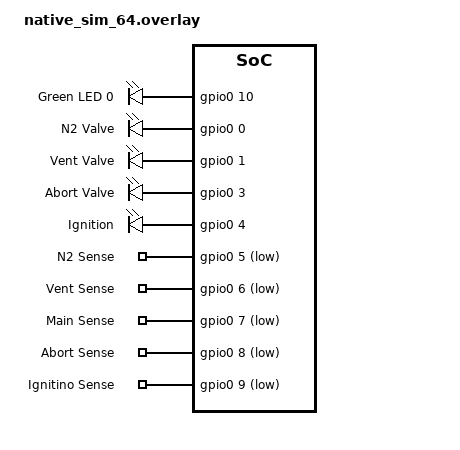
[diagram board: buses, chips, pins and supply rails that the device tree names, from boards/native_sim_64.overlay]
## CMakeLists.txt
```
#-------------------------------------------------------------------------------
# Zephyr Example Application
#
# Copyright (c) 2021 Nordic Semiconductor ASA
# SPDX-License-Identifier: Apache-2.0

cmake_minimum_required(VERSION 3.13.1)
find_package(Zephyr REQUIRED HINTS $ENV{ZEPHYR_BASE})

project(app LANGUAGES C)

target_sources(app PRIVATE src/main.c src/can_com.c src/gpio_emul_shell.c src/heartbeat.c)
# target_sources(app PRIVATE src/blinky.c src/can_com.c src/gpio_emul_shell.c)
```

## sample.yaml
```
# This file is provided so that the application can be compiled using Twister,
# the Zephyr testing tool. In this file, multiple combinations can be specified,
# so that you can easily test all of them locally or in CI.
sample:
  description: Fafnir - Propulsion engine control
  name: fafnir 
common:
  build_only: false
tests:
  app.default: {}
  app.debug:
    extra_overlay_confs:
      - debug.conf

      
```

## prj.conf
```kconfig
# Copyright (c) 2021 Nordic Semiconductor ASA
# SPDX-License-Identifier: Apache-2.0
#
# This file contains selected Kconfig options for the application.

CONFIG_SENSOR=y
CONFIG_GPIO=y
CONFIG_PWM=y
CONFIG_CAN=y
CONFIG_CAN_FD_MODE=y #TODO: not sure do we need this?
```

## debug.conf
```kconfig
# Copyright (c) 2021 Nordic Semiconductor ASA
# SPDX-License-Identifier: Apache-2.0
#
# This is a Kconfig fragment which can be used to enable debug-related options
# in the application. See the README for more details.

CONFIG_LOG=y
CONFIG_APP_LOG_LEVEL_DBG=y
# CONFIG_CAN_LOG_LEVEL_DBG=y
CONFIG_CAN_LOOPBACK=y
CONFIG_SHELL=y
CONFIG_SHELL_BACKENDS=y
CONFIG_SERIAL=y
CONFIG_UART_NATIVE_PTY_0_ON_STDINOUT=y
CONFIG_SHELL_PRINTF_BUFF_SIZE=100
CONFIG_CAN_SHELL=y
CONFIG_GPIO_SHELL=y
CONFIG_GPIO_EMUL=y
CONFIG_SHELL_TELNET_LOG_LEVEL_DBG=y
```

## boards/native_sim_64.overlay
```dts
/ {
	aliases {
		fdcan1 = &can_loopback0;

		n2valve = &solenoid0;
		ventvalve = &solenoid1;
		// mainvalve = &solenoid2;
		abortvalve = &solenoid2;
		extravalve = &ignition0;

		n2sense = &sense0;
		ventsense = &sense1;
		mainsense = &sense2;
		abortsense = &sense3;
		ignitionsense = &sense4;
		solenoids = &solenoids;
		gpio0 = &gpio0;
	};


    leds {
        compatible = "gpio-leds";
        
        led0: led_0 {
			gpios = <&gpio0 10 GPIO_ACTIVE_HIGH>;
			label = "Green LED 0";
		};
    };

	solenoids: solenoids {
        compatible = "gpio-leds";
        
        solenoid0: sol_0 {
			gpios = <&gpio0 0 GPIO_ACTIVE_HIGH>;
			label = "N2 Valve";
		};

		solenoid1: sol_1 {
			gpios = <&gpio0 1 GPIO_ACTIVE_HIGH>;
			label = "Vent Valve";
		};

		// solenoid2: sol_2 {
		// 	gpios = <&gpio0 2 GPIO_ACTIVE_HIGH>;
		// 	label = "Main Valve";
		// };

		solenoid2: sol_2 {
			gpios = <&gpio0 3 GPIO_ACTIVE_HIGH>;
			label = "Abort Valve";
		};

		ignition0: ign_0 {
			gpios = <&gpio0 4 GPIO_ACTIVE_HIGH>;
			label = "Ignition";
		};

};

	solenoidSense {
        compatible = "gpio-keys";
        
        sense0: sense_0 {
			gpios = <&gpio0 5 GPIO_ACTIVE_LOW>;
			label = "N2 Sense";
		};

		sense1: sense_1 {
			gpios = <&gpio0 6 GPIO_ACTIVE_LOW>;
			label = "Vent Sense";
		};

		sense2: sense_2 {
			gpios = <&gpio0 7 GPIO_ACTIVE_LOW>;
			label = "Main Sense";
		};
		
		sense3: sense_3 {
			gpios = <&gpio0 8 GPIO_ACTIVE_LOW>;
			label = "Abort Sense";
		};
		
		sense4: sense_4 {
			gpios = <&gpio0 9 GPIO_ACTIVE_LOW>;
			label = "Ignitino Sense";
		};
	};

};
```

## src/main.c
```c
/*
 * Copyright (c) 2016 Intel Corporation
 *
 * SPDX-License-Identifier: Apache-2.0
 */

#include "can_com.h"

#if defined(CONFIG_BOARD_NATIVE_SIM) 
#include "gpio_emul_shell.h"
#endif

#include "main.h"

#include <zephyr/logging/log.h>
#include <zephyr/kernel.h>
#include <zephyr/drivers/gpio.h>
#include <zephyr/drivers/pwm.h>



/* 1000 msec = 1 sec */
#define SLEEP_TIME_MS   4000


LOG_MODULE_REGISTER(main_func);

static const struct gpio_dt_spec led = GPIO_DT_SPEC_GET(DT_ALIAS(rxled), gpios);

// Disable servo pwm if using board Native Sim 
// #if !defined(CONFIG_BOARD_NATIVE_SIM) 
// static const struct pwm_dt_spec pwm_servo = PWM_DT_SPEC_GET(DT_NODELABEL(servo));
// #define SERVO_PERIOD PWM_MSEC(20)
// #endif

#if !defined(CONFIG_BOARD_NATIVE_SIM) 
static const struct pwm_dt_spec pwm_servo = PWM_DT_SPEC_GET(DT_ALIAS(servo));
#define SERVO_PERIOD PWM_MSEC(20)
#endif

static const struct gpio_dt_spec N2_valve = GPIO_DT_SPEC_GET(DT_ALIAS(n2valve), gpios);
static const struct gpio_dt_spec vent_valve = GPIO_DT_SPEC_GET(DT_ALIAS(ventvalve), gpios);
static const struct gpio_dt_spec abort_valve = GPIO_DT_SPEC_GET(DT_ALIAS(abortvalve), gpios);
static const struct gpio_dt_spec extra_valve = GPIO_DT_SPEC_GET(DT_ALIAS(extravalve), gpios);

// static const struct gpio_dt_spec N2_sense = GPIO_DT_SPEC_GET(DT_ALIAS(n2sense), gpios);
// static const struct gpio_dt_spec vent_sense = GPIO_DT_SPEC_GET(DT_ALIAS(ventsense), gpios);
// static const struct gpio_dt_spec main_sense = GPIO_DT_SPEC_GET(DT_ALIAS(mainsense), gpios);
// static const struct gpio_dt_spec abort_sense = GPIO_DT_SPEC_GET(DT_ALIAS(abortsense), gpios);
// static const struct gpio_dt_spec ignition_sense = GPIO_DT_SPEC_GET(DT_ALIAS(ignitionsense), gpios);

#define NUM_CHANNELS 4
// const struct gpio_dt_spec solenoidSense[NUM_CHANNELS] = {N2_sense, vent_sense, abort_sense, ignition_sense};
const struct gpio_dt_spec pyroPins[NUM_CHANNELS] = {N2_valve, vent_valve, abort_valve, extra_valve};


typedef enum {
    STATE_IDLE,
    STATE_INIT,
    STATE_FILL,
    STATE_STOP_FILL,
    STATE_UMBILICAL,
    STATE_N2_PRESSURIZATION,
    STATE_IGNITION_1,
    STATE_IGNITION_2,
    STATE_IGNITION_3,
    STATE_IGNITION_4,
    STATE_SAFE,
    STATE_ABORT_BEFORE_COUNTDOWN,
    STATE_ABORT_AFTER_COUNTDOWN
} State_t;

State_t systemState = STATE_IDLE;
bool trigger = true;

bool isStateBeforeCountdown(State_t state) {
    switch (state) {
    case STATE_IDLE:
        return true;
    case STATE_INIT:
        return true;
    case STATE_FILL:
        return true;
    case STATE_STOP_FILL:
        return true;
    case STATE_UMBILICAL:
        return true;
    case STATE_N2_PRESSURIZATION:
        return true;
    case STATE_IGNITION_1:
        return true;
    case STATE_IGNITION_2:
        return true;
    case STATE_IGNITION_3:
        return false; // Double checked with xiao
    case STATE_IGNITION_4:
        return false;
    case STATE_SAFE:
        return false;
    case STATE_ABORT_BEFORE_COUNTDOWN:
        return false;
    case STATE_ABORT_AFTER_COUNTDOWN:
        return false;
    }
    LOG_ERR("Invalid state passed!");
    return true;
}

bool isStateIgnition(State_t state) {
    switch (state) {
    case STATE_IDLE:
        return false;
    case STATE_INIT:
        return false;
    case STATE_FILL:
        return false;
    case STATE_STOP_FILL:
        return false;
    case STATE_UMBILICAL:
        return false;
    case STATE_N2_PRESSURIZATION:
        return false;
    case STATE_IGNITION_1:
        return true;
    case STATE_IGNITION_2:
        return true;
    case STATE_IGNITION_3:
        return true;
    case STATE_IGNITION_4:
        return true;
    case STATE_SAFE:
        return false;
    case STATE_ABORT_BEFORE_COUNTDOWN:
        return false;
    case STATE_ABORT_AFTER_COUNTDOWN:
        return false;
    }
    LOG_ERR("Invalid state passed!");
    return false;
}


/* 
 * A CAN message with `data`, is interpreted as a command meaning:
 * "Change your state to `state_can_id_map[data]`".
*/
State_t state_can_id_map[] = {
    STATE_INIT,
    STATE_FILL,
    STATE_STOP_FILL,
    STATE_UMBILICAL,
    STATE_N2_PRESSURIZATION,
    STATE_IGNITION_1,
    STATE_SAFE,
    STATE_ABORT_BEFORE_COUNTDOWN // Used for any abort message, not just before countdown.
};

void changeStateToIgnition2_cb() { 
    if(systemState != STATE_IGNITION_1) return;

    systemState = STATE_IGNITION_2;
    LOG_INF("changeStateToIgnition2_cb triggered going into STATE_IGNITION_2!");
    trigger = true;
}

void changeStateToIgnition3_cb() { 
    if(systemState != STATE_IGNITION_2) return;

    systemState = STATE_IGNITION_3;
    LOG_INF("changeStateToIgnition3_cb triggered going into STATE_IGNITION_3!");
    trigger = true;
}

void changeStateToIgnition4_cb() { 
    if(systemState != STATE_IGNITION_3) return;

    systemState = STATE_IGNITION_4;
    LOG_INF("changeStateToIgnition4_cb triggered going into STATE_IGNITION_4!");
    trigger = true;
}

void changeStateToSafeing_cb() { 
    if(systemState != STATE_IGNITION_4) return;

    systemState = STATE_SAFE;
    LOG_INF("changeStateToSafeing_cb triggered going into STATE_SAFE!");
    trigger = true;
}

// uint8_t pyroSense(uint8_t index) {
// 	if (index >= NUM_PYROS) return 69; //69 means error
//     //HIGH = continuity detected (return 1)
//     //LOW = open circuit (return 0)

// 	int state = gpio_pin_get_dt(&solenoidSense[index]);

//     return state;
// }

void servoZero(void) {
	servoRotate(0.0f);
}

void servoRotate(float angle) {
	//The angle is mapped to -135 to 135 to properly represent CW and CCW rotations
	//Input of +90 == 90 deg rotation CW from the zero position.
    LOG_INF("setting angle of pwm_servo = %d\n", (int) angle);

    #if !defined(CONFIG_BOARD_NATIVE_SIM)
    {
        if (angle < -135 || angle > 135) return;
        angle = 135.0f + angle; //135 degrees is the zero/middle position, since the servo motor can rotate 270 deg

        float degRatio = angle / 270.0f;

        float duty = degRatio * 0.10f + 0.025f;  //mapping to 2.5%–12.5% duty cycle

        pwm_set_dt(&pwm_servo, SERVO_PERIOD, (uint32_t) SERVO_PERIOD*duty); // move it a bit
    }
    #endif
}

void set_pin(const struct gpio_dt_spec *pin, bool value) {
    LOG_INF("PIN[%d] set to value %d", pin->pin, value);
    gpio_pin_set_dt(pin, value);
}


const struct can_filter filter = {
    .flags = 0,
    .id = 0x123,
    .mask = 0b11111111111 
};
void can_rx_cb(const struct device *const device, struct can_frame *frame, void *user_data) {

    if (frame->dlc != 1) {
        LOG_ERR("received packet with id %d has length %d. Fafnir expects all packets to have size 1.", frame->id, frame->dlc);
        uint8_t data[1] = {0xF2}; // Incorrect message format
        submit_can_pkt(data, 1);
        return;
    }

    // if(systemState == STATE_ABORT_BEFORE_COUNTDOWN || systemState == STATE_ABORT_AFTER_COUNTDOWN) {
    //     LOG_ERR("CAN message recieved but ignored because system is aborted.");
    //     return;
    // }


    size_t message_data = frame->data[0];

    if (!(0 <= message_data && message_data <= 7)) {
        uint8_t data[1] = {0xF0}; // Incorrect state
        submit_can_pkt(data, 1);
        return;
    }
    State_t message_state = state_can_id_map[message_data];


    if (isStateIgnition(systemState) && message_state == STATE_IGNITION_1) {
        uint8_t data[2] = {0xF1, frame->data[0]}; // Cannot perform ignition command while in ignition state.
        submit_can_pkt(data, 2);
        return;
    }

    if (message_state == STATE_ABORT_BEFORE_COUNTDOWN) { // STATE_ABORT_BEFORE_COUNTDOWN represents any abort
        if(isStateBeforeCountdown(systemState)) {
            systemState = STATE_ABORT_BEFORE_COUNTDOWN;
        } else {
            systemState = STATE_ABORT_AFTER_COUNTDOWN;
        }
    } else {
        systemState = state_can_id_map[message_data];
    }

    LOG_INF("Recieved CAN message rx: %#X: frame->dlc: %d. Switching state to %d", frame->id, frame->dlc, systemState);

    trigger = true;

}

const struct can_filter override_filter = {
    .flags = 0,
    .id = 0x124,
    .mask = 0b11111111111 
};
void can_rx_override_cb(const struct device *const device, struct can_frame *frame, void *user_data) {

    if (frame->dlc != 2) {
        LOG_ERR("received packet with id %d has length %d. Override requires 2 arguments PIN, VALUE.", frame->id, frame->dlc);
        uint8_t data[1] = {0xF3}; // Incorrect override message format!
        submit_can_pkt(data, 1);
        return;
    }
    size_t pin = frame->data[0];
    size_t value = frame->data[1];

    LOG_INF("Recieved CAN message rx: %#X: frame->dlc: %d. Setting pin[%d] := %d", frame->id, frame->dlc, pin, value);
    switch (pin) {
    case 0:
        int8_t signed_value = (int8_t) value;
        servoRotate(90.0 * ((double) signed_value/127.0) );
        break;
    case 1:
        set_pin(&extra_valve, value);
        break;
    case 2:
        set_pin(&abort_valve, value);
        break;
    case 3:
        set_pin(&vent_valve, value);
        break;
    case 4:
        set_pin(&N2_valve, value);
        break;
    default:
        LOG_ERR("Invalid pin!");
        uint8_t data[3] = {0xF4, frame->data[0], frame->data[1]}; // Incorrect pin!
        submit_can_pkt(data, 3);
        return;
        break;
    }
    LOG_ERR("Invalid pin!");
    uint8_t data[3] = {0x02, frame->data[0], frame->data[1]}; // Succesffuly received override command
    submit_can_pkt(data, 3);
}

static uint8_t data[2];


void configure_output_pin(const struct gpio_dt_spec *pin) {
	int ret;
    int ready = gpio_is_ready_dt(pin);
    if (!ready) {
        LOG_ERR("pin not ready");
        return;
    }

    ret = gpio_pin_configure_dt(pin, GPIO_OUTPUT);

    if (ret < 0) {
        LOG_ERR("pin configure failed %d", ret);
        return;
    }
}

void configure_input_pin(const struct gpio_dt_spec *pin) {
	int ret;
    int ready = gpio_is_ready_dt(pin);
    if (!ready) {
        LOG_ERR("pin not ready");
        return;
    }

    ret = gpio_pin_configure_dt(pin, GPIO_INPUT);
    if (ret < 0) {
        LOG_ERR("pin configure failed %d", ret);
        return;
    }
}

K_TIMER_DEFINE(TMinus7_timer, changeStateToIgnition2_cb, NULL);
K_TIMER_DEFINE(TMinus2_timer, changeStateToIgnition3_cb, NULL);
K_TIMER_DEFINE(TMinus0_timer, changeStateToIgnition4_cb, NULL);
K_TIMER_DEFINE(TPlus30_timer, changeStateToSafeing_cb, NULL);

void evaluateState() { 
    LOG_INF("Evaluating state: %d", systemState);
    uint8_t data[2] = {0x01, systemState};
    submit_can_pkt(data, 2); // Changing state acknowledge!
    switch(systemState) {
        case STATE_IDLE:
            set_pin(&N2_valve, 0);
            set_pin(&vent_valve, 0);
            set_pin(&abort_valve, 0);
            servoZero(); // Close Main Valve TODO: Is this correct? 
            set_pin(&led, 0);
        break;
        case STATE_INIT:
            set_pin(&N2_valve, 0);
            set_pin(&vent_valve, 1);
            set_pin(&abort_valve, 0);
            servoZero();
            set_pin(&led, 0);
        break;
        case STATE_FILL:
            // Same as STATE_INIT
            set_pin(&N2_valve, 0);
            set_pin(&vent_valve, 1);
            set_pin(&abort_valve, 0);
            servoZero();
            set_pin(&led, 0);
        break;

        case STATE_STOP_FILL:
            set_pin(&N2_valve, 0);
            set_pin(&vent_valve, 0);
            set_pin(&abort_valve, 0);
            servoZero();
            set_pin(&led, 0);
        break;

        case STATE_UMBILICAL:
            // Same as STATE_STOP_FILL
            set_pin(&N2_valve, 0);
            set_pin(&vent_valve, 0);
            set_pin(&abort_valve, 0);
            servoZero();
            set_pin(&led, 0);
        break;

        case STATE_N2_PRESSURIZATION:
            set_pin(&N2_valve, 1);
            set_pin(&vent_valve, 0);
            set_pin(&abort_valve, 0);
            servoZero();
            set_pin(&led, 0);
        break;

        case STATE_IGNITION_1:
            set_pin(&N2_valve, 1);
            set_pin(&vent_valve, 0);
            set_pin(&abort_valve, 0);
            servoZero();
            set_pin(&led, 1);
            // TODO: Buzzer
            // TODO: Are the times correct? Maybe confused about T-10, T-7, etc...
            // It is now T-10, 3000ms until T-7.
            k_timer_start(&TMinus7_timer, K_MSEC(3000), K_NO_WAIT);
        break;

        case STATE_IGNITION_2: 
            set_pin(&N2_valve, 1);
            set_pin(&vent_valve, 0);
            set_pin(&abort_valve, 0);
            servoZero();
            set_pin(&led, 1);
            // It is now T-7, 5000ms until T-2.
            k_timer_start(&TMinus2_timer, K_MSEC(5000), K_NO_WAIT);
        break;

        case STATE_IGNITION_3:
            set_pin(&N2_valve, 1);
            set_pin(&vent_valve, 0);
            set_pin(&abort_valve, 0);
            servoRotate(30.0); // TODO: What angle is 10%?
            set_pin(&led, 1);
            // It is now T-2, 2000ms until T-0.
            k_timer_start(&TMinus0_timer, K_MSEC(2000), K_NO_WAIT);
            
        break;

        case STATE_IGNITION_4:
            set_pin(&N2_valve, 1);
            set_pin(&vent_valve, 0);
            set_pin(&abort_valve, 0);
            servoRotate(1.0 * 90.0); // TODO: What angle is 100%?
            set_pin(&led, 1);
            // It is now T-0, T+30 in 30000 ms
            k_timer_start(&TPlus30_timer, K_MSEC(30000), K_NO_WAIT);
        break;

        case STATE_SAFE:
            set_pin(&N2_valve, 1);
            set_pin(&vent_valve, 1);
            set_pin(&abort_valve, 1);
            servoRotate(1.0 * 90.0);
            set_pin(&led, 1);
        break;

        case STATE_ABORT_BEFORE_COUNTDOWN:
            set_pin(&N2_valve, 1);
            set_pin(&vent_valve, 1);
            set_pin(&abort_valve, 1);
            servoZero();
            set_pin(&led, 1);
        break;

        case STATE_ABORT_AFTER_COUNTDOWN:
            set_pin(&N2_valve, 1);
            set_pin(&vent_valve, 1);
            set_pin(&abort_valve, 1);
            servoRotate(1.0 * 90.0);
            set_pin(&led, 1);
        break;

    }

    // TODO: What should we do if the sensing pins report no continuity?
    // TODO: Send back response CAN messages? What should they say?
}


int main(void)
{
	int ret;


    #if !defined(CONFIG_BOARD_NATIVE_SIM) 
	if (!pwm_is_ready_dt(&pwm_servo)) {
		printk("Error: PWM device %s is not ready\n",
		       pwm_servo.dev->name);
		return 0;
	}
    #endif

    init_can();
    add_filter_can(can_rx_cb, filter, NULL);
    add_filter_can(can_rx_override_cb, override_filter, NULL);



    // data[0] = 39;
    // data[1] = 59;
    // submit_can_pkt(data, 2);

    configure_output_pin(&led);

    for (size_t i = 0; i < NUM_CHANNELS; i++) {
        configure_output_pin(&pyroPins[i]);
        // configure_input_pin(&solenoidSense[i]);
    }

    
	while (1) {
		// ret = gpio_pin_toggle_dt(&led);
		// uint8_t senseState = pyroSense(0);

        if(trigger) {
            evaluateState();
            trigger = false;
        }

        // uint8_t data[3] = {2, 3, 4};
        // submit_can_pkt(data, 3);
		k_msleep(10);
	}
	return 0;
}
```

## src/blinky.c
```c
#include <zephyr/kernel.h>
#include <zephyr/drivers/gpio.h>
#include <zephyr/logging/log.h>
#include <zephyr/drivers/pwm.h>
#include "can_com.h"

LOG_MODULE_REGISTER(blinky_test);




static const struct gpio_dt_spec led = GPIO_DT_SPEC_GET(DT_ALIAS(rxled), gpios);

static const struct gpio_dt_spec N2_valve = GPIO_DT_SPEC_GET(DT_ALIAS(n2valve), gpios);
static const struct gpio_dt_spec vent_valve = GPIO_DT_SPEC_GET(DT_ALIAS(ventvalve), gpios);
static const struct gpio_dt_spec abort_valve = GPIO_DT_SPEC_GET(DT_ALIAS(abortvalve), gpios);
static const struct gpio_dt_spec extra_valve = GPIO_DT_SPEC_GET(DT_ALIAS(extravalve), gpios);

#define NUM_CHANNELS 4
const struct gpio_dt_spec pyroPins[NUM_CHANNELS] = {N2_valve, vent_valve, abort_valve, extra_valve};

#if !defined(CONFIG_BOARD_NATIVE_SIM) 
static const struct pwm_dt_spec pwm_servo = PWM_DT_SPEC_GET(DT_ALIAS(servo));
#define SERVO_PERIOD PWM_MSEC(20)
#endif

void servoRotate(float angle) {
	//The angle is mapped to -135 to 135 to properly represent CW and CCW rotations
	//Input of +90 == 90 deg rotation CW from the zero position.
    LOG_INF("setting angle of pwm_servo = %d\n", (int) angle);

    {
        if (angle < -135 || angle > 135) return;
        angle = 135.0f + angle; //135 degrees is the zero/middle position, since the servo motor can rotate 270 deg

        float degRatio = angle / 270.0f;

        float duty = degRatio * 0.10f + 0.025f;  //mapping to 2.5%–12.5% duty cycle

        pwm_set_dt(&pwm_servo, SERVO_PERIOD, (uint32_t) SERVO_PERIOD*duty); // move it a bit
    }
}

void servoZero(void) {
	servoRotate(0.0f);
}

void configure_output_pin(const struct gpio_dt_spec *pin) {
	int ret;
    int ready = gpio_is_ready_dt(pin);
    if (!ready) {
        LOG_ERR("pin not ready");
        return;
    }

    ret = gpio_pin_configure_dt(pin, GPIO_OUTPUT);

    if (ret < 0) {
        LOG_ERR("pin configure failed %d", ret);
        return;
    }
}

const struct can_filter filter_off = {
    .flags = 0,
    .id = 0x124,
    .mask = 0b11111111111 
    // .mask = 0x0
};

const struct can_filter filter_on = {
    .flags = 0,
    .id = 0x125,
    .mask = 0b11111111111 
    // .mask = 0x0
};

bool led_state = false;

void can_rx_led_on_cb(const struct device *const device, struct can_frame *frame, void *user_data) {
    led_state = true;
    // gpio_pin_toggle_dt(&led);

    // servoZero();
    // gpio_pin_toggle_dt(&led);
    // // servoRotate(90);
    // k_msleep(1001);
    // gpio_pin_toggle_dt(&led);
}

void can_rx_led_off_cb(const struct device *const device, struct can_frame *frame, void *user_data) {
    led_state = false;
    // gpio_pin_toggle_dt(&led);

    // servoZero();
    // gpio_pin_toggle_dt(&led);
    // // servoRotate(90);
    // k_msleep(1001);
    // gpio_pin_toggle_dt(&led);
}

int main() {
    gpio_pin_configure_dt(&led, GPIO_OUTPUT);
    for (size_t i = 0; i < NUM_CHANNELS; i++) {
        configure_output_pin(&pyroPins[i]);
    }

	if (!pwm_is_ready_dt(&pwm_servo)) {
		printk("Error: PWM device %s is not ready\n",
		       pwm_servo.dev->name);
		return 0;
	}

    init_can();
    add_filter_can(can_rx_led_off_cb, filter_off, NULL);
    add_filter_can(can_rx_led_on_cb, filter_on, NULL);
    
    while(true) {
        // gpio_pin_toggle_dt(&led);
        // for (size_t i = 0; i < NUM_CHANNELS; i++) {
        //     gpio_pin_toggle_dt(&pyroPins[i]);
        // }
        gpio_pin_toggle_dt(&abort_valve);
        gpio_pin_toggle_dt(&extra_valve);
        gpio_pin_set_dt(&led, led_state);

        uint8_t data[3] = {5, 6, 7};
        submit_can_pkt(data, 3);
        k_msleep(1001);

    }
    

    return 0;

}
```

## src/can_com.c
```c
#include <zephyr/drivers/can.h>
#include <zephyr/kernel.h>
#include <zephyr/logging/log.h>
#include <zephyr/sys/util.h>
#include <errno.h>

LOG_MODULE_REGISTER(can_com);

K_MSGQ_DEFINE(can_tx_queue,
              sizeof(struct can_frame),
              8,            /* queue length (frames) */
              1);            /* alignment */
K_SEM_DEFINE(can_tx_done, 1, 1);

#define FDCAN_1_NODE DT_ALIAS(fdcan1)

const struct device *const can_dev = DEVICE_DT_GET(FDCAN_1_NODE);


void can_tx_cb(const struct device *device, int error, void *user_data) {
    k_sem_give(&can_tx_done);
    if (error) {
        LOG_ERR("can send callback error %d", error);
    }
}

int submit_can_pkt(const void *packet, size_t length) {
    struct can_frame frame = {
            .flags = 0,
            .id = 0x125,
            .dlc = length,
    };
    memcpy(frame.data, packet, length);
    int ret = k_msgq_put(&can_tx_queue, &frame, K_NO_WAIT);
    if (ret == -EAGAIN) {
        LOG_ERR("can tx queue full");
    }
    return 0;
}

void can_thread_fn(void) {
    int ret;
    struct can_frame frame;

    while (1) {
        ret = k_msgq_get(&can_tx_queue, &frame, K_FOREVER);
        if (ret) {
            LOG_INF("k_msgq_get returned error %d", ret);
        }

        // wait until previous frame is sent
        k_sem_take(&can_tx_done, K_MSEC(200));

        LOG_INF("sending can message 0x%02X", frame.id);

        // send frame (blocking until mailbox is available)
        ret = can_send(can_dev, &frame,
                           K_MSEC(100),
                            can_tx_cb,
                           NULL);

        if (ret ) { // callback not called
            LOG_ERR("can send error %d", ret);
            k_sem_give(&can_tx_done);
        }
    }
}

K_THREAD_DEFINE(can_thread,
                1024,
                can_thread_fn,
                NULL, NULL, NULL,
                1, // priority
                0,
                -1); // do not start


int add_filter_can(can_rx_callback_t rx_callback, struct can_filter filter, void *can_user_data) {
    int ret = can_add_rx_filter(can_dev, rx_callback, can_user_data, &filter);
    if (ret < 0) {
        LOG_ERR("adding can filter failed: %d", ret);
    } else {
        LOG_INF("adding can filter success");
    }
    return ret;
}

int init_can() {
    int ret;

 
    if (!device_is_ready(can_dev)) {
        LOG_ERR("CAN device not ready");
        return -1;
    }


    #if defined(CONFIG_BOARD_NATIVE_SIM) 
    can_set_mode(can_dev, CAN_MODE_LOOPBACK);
    #endif
    

    ret = can_set_bitrate(can_dev, 500000); // 500 kb/s
    if (ret) {
        LOG_ERR("failed to set CAN nominal bitrate: [%d]", ret);
        return -1;
    } else {
        LOG_INF("CAN nominal bitrate successfully set to 500kb/s");
    }

    ret = can_set_bitrate_data(can_dev, 500000); // 500 kb/s
    if (ret) {
        LOG_ERR("failed to set CAN bitrate: [%d]", ret);
        return -1;
    } else {
        LOG_INF("CAN bitrate successfully set to 500kb/s");
    }

    ret = can_start(can_dev);
    if (ret) {
        LOG_ERR("failed to start CAN: %d", ret);
        return -1;
    } else{
        LOG_INF("CAN started");
    }

    k_thread_start(can_thread);

    return 0;
}
```

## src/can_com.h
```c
#ifndef __CAN_COM_H
#define __CAN_COM_H

#ifdef __cplusplus
extern "C" {
#endif

#include <stddef.h>
#include <zephyr/drivers/can.h>

int init_can();

void submit_can_pkt(const void *packet, size_t length);

int add_filter_can(can_rx_callback_t rx_callback, struct can_filter filter, void *can_user_data);


#ifdef __cplusplus
}
#endif

#endif /* __CAN_COM_H */
```

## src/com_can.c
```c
#include <zephyr/kernel.h>
#include <zephyr/drivers/gpio.h>
#include <zephyr/drivers/can.h>
#include <zephyr/logging/log.h>

LOG_MODULE_REGISTER(can_test, LOG_LEVEL_INF);

#define CAN_ID_CMD   0x123   // any arbitrary ID
#define CAN_BITRATE  500000

// Define your LED
static const struct gpio_dt_spec led = GPIO_DT_SPEC_GET(DT_ALIAS(led0), gpios);

// CAN device
const struct device *const can_dev = DEVICE_DT_GET(DT_ALIAS(canbus));

// RX callback
static void can_rx_callback(const struct device* dev, struct can_frame* frame, void* user_data)
{
    if (frame->dlc < 1) {
        LOG_WRN("Empty CAN frame received");
        return;
    }

    uint8_t cmd = frame->data[0];

    if (cmd == 0x01) {
        gpio_pin_set_dt(&led, 1);
        LOG_INF("LED ON via CAN");
    }
    else if (cmd == 0x00) {
        gpio_pin_set_dt(&led, 0);
        LOG_INF("LED OFF via CAN");
    }
    else {
        LOG_WRN("Unknown command: 0x%02X", cmd);
    }
}

int main(void)
{
    int ret;

    // Configure LED
    if (!device_is_ready(led.port)) {
        LOG_ERR("LED device not ready");
        return 0;
    }
    ret = gpio_pin_configure_dt(&led, GPIO_OUTPUT_INACTIVE);
    if (ret < 0) {
        LOG_ERR("Failed to configure LED");
        return 0;
    }

    // Configure CAN
    if (!device_is_ready(can_dev)) {
        LOG_ERR("CAN device not ready");
        return 0;
    }

    ret = can_set_bitrate(can_dev, CAN_BITRATE);
    if (ret) {
        LOG_ERR("Failed to set CAN bitrate: %d", ret);
        return 0;
    }

    ret = can_start(can_dev);
    if (ret) {
        LOG_ERR("Failed to start CAN: %d", ret);
        return 0;
    }

    struct can_filter filter = {
        .id = CAN_ID_CMD,
        .mask = 0x7FF,
        .flags = 0
    };

    ret = can_add_rx_filter(can_dev, can_rx_callback, NULL, &filter);
    if (ret < 0) {
        LOG_ERR("Failed to add RX filter: %d", ret);
        return 0;
    }

    LOG_INF("CAN test ready. Listening for ID 0x%03X...", CAN_ID_CMD);

    while (1) {
        k_sleep(K_FOREVER);  // nothing else to do
    }
}
```

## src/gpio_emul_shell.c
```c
#if defined(CONFIG_BOARD_NATIVE_SIM) 
#include "gpio_emul_shell.h"
#include <zephyr/shell/shell.h>
#include <zephyr/drivers/gpio/gpio_emul.h>
#include <zephyr/drivers/gpio.h>
#include <zephyr/logging/log.h>
#include <zephyr/kernel.h>
#include <zephyr/device.h>
#include <zephyr/devicetree.h>
#include <stdlib.h>

LOG_MODULE_REGISTER(shell_gpio_emul);

#define OUTPUT_PIN_NODE DT_ALIAS(solenoids)
#define GPIO0 DEVICE_DT_GET(DT_ALIAS(gpio0))

struct output_pin_info {
    bool is_valid; 
    const char *label;
    struct gpio_dt_spec spec;
};

#define GET_OUTPUT_PIN_INFO(node_id) \
    COND_CODE_1(DT_NODE_HAS_PROP(node_id, gpios), \
    ( \
        { \
            .is_valid = true, \
            .label = DT_PROP(node_id, label), \
            .spec = GPIO_DT_SPEC_GET(node_id, gpios), \
        } \
    ), \
    ( \
        { .is_valid = false } /* Dummy entry for gpio_emul */ \
    ) \
    )

static const struct output_pin_info output_pin_list[] = {
    DT_FOREACH_CHILD_SEP(OUTPUT_PIN_NODE, GET_OUTPUT_PIN_INFO, (,))
};

static int cmd_display_emul_gpio_pins(const struct shell *sh, size_t argc, char **argv) {
    ARG_UNUSED(argc);
    ARG_UNUSED(argv);

    shell_print(sh, "--- Emulation Status ---");
    shell_print(sh, "%-15s | %-10s | %-5s | %s", "Label", "GPIO Dev", "Pin", "Level");
    shell_print(sh, "--------------------------------------------------");

    for (size_t i = 0; i < ARRAY_SIZE(output_pin_list); i++) {
        const struct output_pin_info *sol = &output_pin_list[i];

        if (!sol->is_valid) {
            continue;
        }

        if (!device_is_ready(sol->spec.port)) {
            shell_error(sh, "Error: Device %s is not ready", sol->spec.port->name);
            continue;
        }

        int state = gpio_emul_output_get(sol->spec.port, sol->spec.pin);

        shell_print(sh, "%-15s | %-10s | %-5d | %s", 
                    sol->label, 
                    sol->spec.port->name, 
                    sol->spec.pin, 
                    (state ? "HIGH (1)" : "LOW (0)"));
    }

    return 0;
}

SHELL_CMD_REGISTER(getsol, NULL, "Display output pin emulation states", &cmd_display_emul_gpio_pins);


static int cmd_set_emul_gpio_pins(const struct shell *sh, size_t argc, char **argv) {
    shell_print(sh, "letsgoo");
    gpio_emul_input_set(GPIO0, atoi(argv[1]), atoi(argv[2]));
    return 0;
}

// SHELL_CMD_REGISTER(setsol, NULL, "bla", &cmd_display_emul_gpio_pins);
SHELL_CMD_ARG_REGISTER(setsol, NULL, "bla", &cmd_set_emul_gpio_pins, 3, 0);
#endif
```

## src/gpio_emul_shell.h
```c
#ifndef __GPIO_EMUL_SHELL_H
#define __GPIO_EMUL_SHELL_H

#ifdef __cplusplus
extern "C" {
#endif


#ifdef __cplusplus
}
#endif

#endif /* __GPIO_EMUL_SHELL_H */
```

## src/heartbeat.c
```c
#include <zephyr/kernel.h>
#include "can_com.h"

static void heartbeat_thread(void *arg1, void *arg2, void *arg3)
{
    (void)arg1;
    (void)arg2;
    (void)arg3;
    
    while (1) {
        k_sleep(K_MSEC(1000));
        uint8_t data[1] = {0xAB};
        submit_can_pkt(data, 1);
    }
}

#define LOG_THREAD_STACK_SIZE 512
K_THREAD_DEFINE(log_tid, LOG_THREAD_STACK_SIZE, heartbeat_thread, NULL, NULL, NULL, 7, 0, 0);
```

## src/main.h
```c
#ifndef __MAIN_H
#define __MAIN_H

#ifdef __cplusplus
extern "C" {
#endif

#include <stdint.h>

#define NUM_PYROS 3

// extern GPIO_TypeDef* const pyroPort;
// extern const uint16_t pyroPins[NUM_PYROS];

// extern GPIO_TypeDef* const pyroDetectPort;
// extern const uint16_t pyroDetectPins[NUM_PYROS];

/* Motor functions */
// void setPWM(TIM_HandleTypeDef *timer_handle, uint32_t timer_channel, float duty); // pwm_set_dt
void servoZero(void);
void servoRotate(float angle);

/* Pyro channel functions */
void pyroActuate(uint8_t index, uint8_t state);
uint8_t pyroSense(uint8_t index);

/* State machine functions  */
uint8_t systemIdle(void);
uint8_t systemReady(void);
void handleServo(void);
void handlePyro(int i);

#ifdef __cplusplus
}
#endif

#endif /* __MAIN_H */
```
